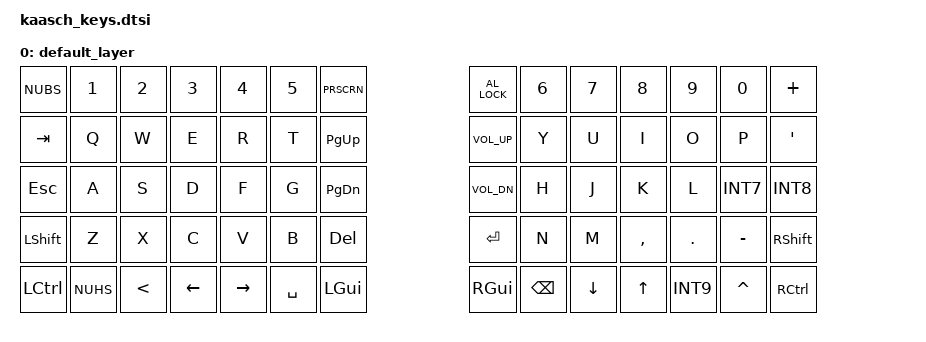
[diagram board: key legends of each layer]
#include <dt-bindings/zmk/matrix_transform.h>
#include <behaviors.dtsi>
#include <dt-bindings/zmk/keys.h>

/ {
    kscan0: kscan0 {
        compatible = "zmk,kscan-gpio-matrix";
        diode-direction = "col2row";
        wakeup-source;

        row-gpios
            = <&gpio0 20 (GPIO_ACTIVE_HIGH | GPIO_PULL_DOWN)>
            , <&gpio0 22 (GPIO_ACTIVE_HIGH | GPIO_PULL_DOWN)>
            , <&gpio0 24 (GPIO_ACTIVE_HIGH | GPIO_PULL_DOWN)>
			, <&gpio1 0 (GPIO_ACTIVE_HIGH | GPIO_PULL_DOWN)>
			, <&gpio0 11 (GPIO_ACTIVE_HIGH | GPIO_PULL_DOWN)>
            ;

		col-gpios
			= <&gpio0 29 (GPIO_ACTIVE_HIGH | GPIO_PULL_DOWN)>
			, <&gpio0 2 (GPIO_ACTIVE_HIGH | GPIO_PULL_DOWN)>
			, <&gpio1 15 (GPIO_ACTIVE_HIGH | GPIO_PULL_DOWN)>
			, <&gpio1 13 (GPIO_ACTIVE_HIGH | GPIO_PULL_DOWN)>
			, <&gpio1 11 (GPIO_ACTIVE_HIGH | GPIO_PULL_DOWN)>
			, <&gpio0 10 (GPIO_ACTIVE_HIGH | GPIO_PULL_DOWN)>
			, <&gpio0 9 (GPIO_ACTIVE_HIGH | GPIO_PULL_DOWN)>
			;

    };
};

	default_transform: keymap_transform0 {
        compatible = "zmk,matrix-transform";
        columns = <14>;
        rows = <5>;
        map = <
            RC(0,0) RC(0,1) RC(0,2) RC(0,3) RC(0,4) RC(0,5) RC(0,6)          RC(0,7) RC(0,8) RC(0,9) RC(0,10) RC(0,11) RC(0,12) RC(0,13)
            RC(1,0) RC(1,1) RC(1,2) RC(1,3) RC(1,4) RC(1,5) RC(1,6)          RC(1,7) RC(1,8) RC(1,9) RC(1,10) RC(1,11) RC(1,12) RC(1,13)
            RC(2,0) RC(2,1) RC(2,2) RC(2,3) RC(2,4) RC(2,5) RC(2,6)          RC(2,7) RC(2,8) RC(2,9) RC(2,10) RC(2,11) RC(2,12) RC(2,13)
            RC(3,0) RC(3,1) RC(3,2) RC(3,3) RC(3,4) RC(3,5)    RC(3,6)    RC(3,7)    RC(3,8) RC(3,9) RC(3,10) RC(3,11) RC(3,12) RC(3,13)
            RC(4,0) RC(4,1) RC(4,2) RC(4,3) RC(4,4)    RC(4,5) RC(4,6)    RC(4,7) RC(4,8)    RC(4,9) RC(4,10) RC(4,11) RC(4,12) RC(4,13)
        >;
    };

    physical_layout0: physical_layout_0 { // First physical layout, use different naming for other layouts
        compatible = "zmk,physical-layout";
        display-name = "Default Layout";
        kscan = <&kscan0>;
        transform = <&default_transform>;
    };

    chosen {
		zmk,kscan = &kscan0;
        zmk,physical-layout = &physical_layout0;
    };

    keymap {
        compatible = "zmk,keymap";

        default_layer { // Layer 0
            bindings = <
				&kp NUBS   &kp N1	&kp N2   &kp N3   &kp N4   &kp N5   &kp PRSCRN			    &kp C_AL_LOCK  &kp N6   &kp N7   &kp N8    &kp N9   &kp N0    &kp PLUS
                &kp TAB    &kp Q    &kp W    &kp E    &kp R    &kp T    &kp PG_UP			    &kp C_VOL_UP   &kp Y    &kp U    &kp I     &kp O    &kp P     &kp APOS
                &kp ESC    &kp A    &kp S    &kp D    &kp F    &kp G    &kp PG_DN			    &kp C_VOL_DN   &kp H    &kp J    &kp K     &kp L    &kp INT7  &kp INT8
                &kp LSHIFT &kp Z    &kp X    &kp C    &kp V    &kp B         &kp DELETE		&kp RETURN         &kp N    &kp M    &kp COMMA &kp DOT  &kp MINUS &kp RSHIFT
                &kp LCTRL  &kp NUHS &kp LT   &kp LEFT &kp RIGHT    &kp SPACE &kp LGUI		&kp RGUI    &kp BSPC        &kp DOWN &kp UP    &kp INT9 &kp CARET &kp RCTRL
            >;
        };
    };
